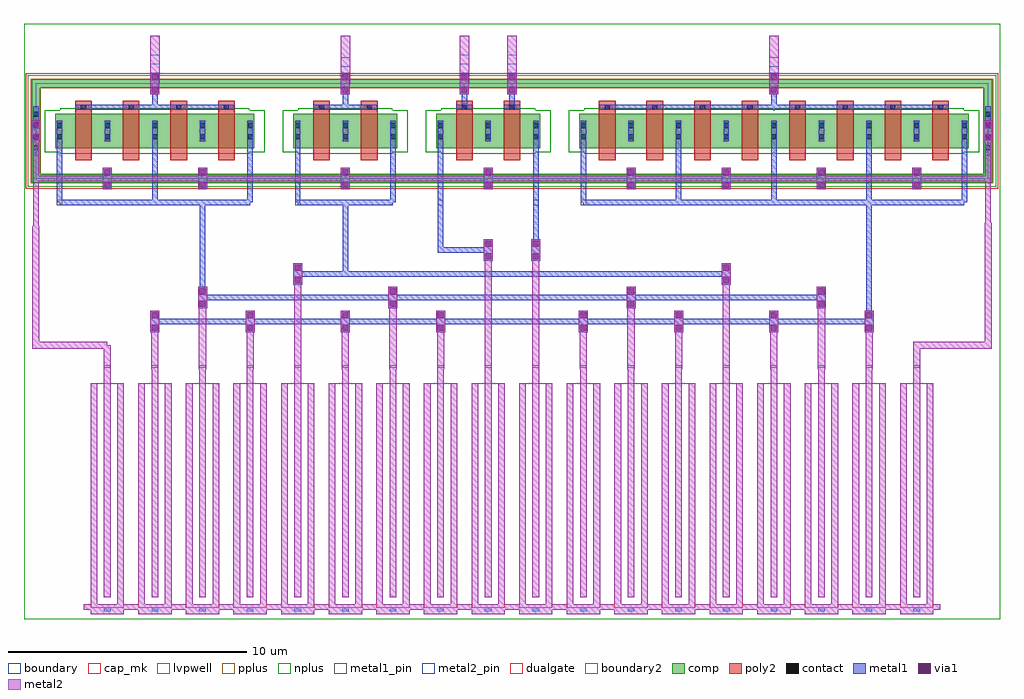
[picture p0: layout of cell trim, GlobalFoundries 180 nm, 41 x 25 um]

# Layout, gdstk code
import gdstk
lib = gdstk.Library(unit=1e-6, precision=1e-09)
def R(c, l, rs):  # rectangles x0, y0, x1, y1
    for r in rs: c.add(gdstk.rectangle(r[:2], r[2:], *l))
def A(c, l, x, y, w, h, nx, ny, dx, dy):  # array of equal rectangles
    R(c, l, [(x+i*dx, y+j*dy, x+i*dx+w, y+j*dy+h) for i in range(nx) for j in range(ny)])
boundary = (0, 0)
comp = (22, 0)
poly2 = (30, 0)
pplus = (31, 0)
nplus = (32, 0)
contact = (33, 0)
metal1 = (34, 0)
metal1_pin = (34, 10)
via1 = (35, 0)
metal2 = (36, 0)
metal2_pin = (36, 10)
dualgate = (55, 0)
boundary2 = (63, 0)
cap_mk = (117, 5)
lvpwell = (204, 0)

xm0_trims = lib.new_cell('XM0_trims')
R(xm0_trims, boundary, [(-15,-2,-11,2)])
R(xm0_trims, comp, [(-15.18,-2.18,-10.82,-1.82), (-14.18,-0.72,-11.82,0.72), (-15.18,1.82,-10.82,2.18)])
R(xm0_trims, poly2, [(-13.35,-1.279,-12.65,1.235)])
R(xm0_trims, pplus, [(-15.21,-2.2,-10.79,-1.8), (-15.21,1.8,-10.79,2.2)])
R(xm0_trims, nplus, [(-13.97,-0.95,-12,-0.88), (-14.62,-0.88,-11.38,0.88), (-13.97,0.88,-12,0.95)])
R(xm0_trims, contact, [(-13.11,-1.11,-12.89,-0.89), (-14.11,-0.345,-13.89,-0.125), (-12.11,-0.345,-11.89,-0.125), (-14.11,0.125,-13.89,0.345), (-12.11,0.125,-11.89,0.345)])
R(xm0_trims, metal1, [(-13.34,-1.115,-12.66,-0.885), (-14.115,-0.435,-13.885,0.435), (-12.115,-0.435,-11.885,0.435)])
R(xm0_trims, dualgate, [(-15.42,-2.42,-10.58,2.42)])
A(xm0_trims, boundary2, -15.5, -2.5, 1, 1, 5, 5, 1, 1)
R(xm0_trims, lvpwell, [(-15.34,-2.34,-10.66,2.34)])

xm1_trims = lib.new_cell('XM1_trims')
R(xm1_trims, boundary, [(-23,-2,-19,2)])
R(xm1_trims, comp, [(-23.18,-2.18,-18.82,-1.82), (-22.18,-0.72,-19.82,0.72), (-23.18,1.82,-18.82,2.18)])
R(xm1_trims, poly2, [(-21.35,-1.279,-20.65,1.235)])
R(xm1_trims, pplus, [(-23.21,-2.2,-18.79,-1.8), (-23.21,1.8,-18.79,2.2)])
R(xm1_trims, nplus, [(-22,-0.95,-20.03,-0.88), (-22.62,-0.88,-19.38,0.88), (-22,0.88,-20.03,0.95)])
R(xm1_trims, contact, [(-21.11,-1.11,-20.89,-0.89), (-22.11,-0.345,-21.89,-0.125), (-20.11,-0.345,-19.89,-0.125), (-22.11,0.125,-21.89,0.345), (-20.11,0.125,-19.89,0.345)])
R(xm1_trims, metal1, [(-21.34,-1.115,-20.66,-0.885), (-22.115,-0.435,-21.885,0.435), (-20.115,-0.435,-19.885,0.435)])
R(xm1_trims, dualgate, [(-23.42,-2.42,-18.58,2.42)])
A(xm1_trims, boundary2, -23.5, -2.5, 1, 1, 5, 5, 1, 1)
R(xm1_trims, lvpwell, [(-23.34,-2.34,-18.66,2.34)])

xm2_trims = lib.new_cell('XM2_trims')
R(xm2_trims, boundary, [(-16,-2,-12,2), (-14,-2,-10,2)])
R(xm2_trims, comp, [(-16.18,-2.18,-11.82,-1.82), (-14.18,-2.18,-9.82,-1.82), (-15.18,-0.72,-12.82,0.72), (-13.18,-0.72,-10.82,0.72), (-16.18,1.82,-11.82,2.18), (-14.18,1.82,-9.82,2.18)])
R(xm2_trims, poly2, [(-14.35,-1.279,-13.65,1.235), (-12.35,-1.279,-11.65,1.235)])
R(xm2_trims, pplus, [(-16.21,-2.2,-11.79,-1.8), (-14.21,-2.2,-9.79,-1.8), (-16.21,1.8,-11.79,2.2), (-14.21,1.8,-9.79,2.2)])
R(xm2_trims, nplus, [(-14.97,-0.95,-13,-0.88), (-13,-0.95,-11.03,-0.88), (-15.62,-0.88,-12.38,0.88), (-13.62,-0.88,-10.38,0.88), (-14.97,0.88,-13,0.95), (-13,0.88,-11.03,0.95)])
R(xm2_trims, contact, [(-14.11,-1.11,-13.89,-0.89), (-12.11,-1.11,-11.89,-0.89), (-15.11,-0.345,-14.89,-0.125), (-13.11,-0.345,-12.89,-0.125), (-13.11,-0.345,-12.89,-0.125), (-11.11,-0.345,-10.89,-0.125), (-15.11,0.125,-14.89,0.345), (-13.11,0.125,-12.89,0.345), (-13.11,0.125,-12.89,0.345), (-11.11,0.125,-10.89,0.345)])
R(xm2_trims, metal1, [(-14.34,-1.115,-13.66,-0.885), (-12.34,-1.115,-11.66,-0.885), (-15.115,-0.435,-14.885,0.435), (-13.115,-0.435,-12.885,0.435), (-13.115,-0.435,-12.885,0.435), (-11.115,-0.435,-10.885,0.435)])
R(xm2_trims, dualgate, [(-16.42,-2.42,-11.58,2.42), (-14.42,-2.42,-9.58,2.42)])
A(xm2_trims, boundary2, -16.5, -2.5, 1, 1, 3, 5, 1, 1)
A(xm2_trims, boundary2, -14.5, -2.5, 1, 1, 1, 5, 0, 1)
A(xm2_trims, boundary2, -13.5, -2.5, 1, 1, 1, 5, 0, 1)
A(xm2_trims, boundary2, -13.5, -2.5, 1, 1, 4, 5, 1, 1)
R(xm2_trims, lvpwell, [(-16.34,-2.34,-11.66,2.34), (-14.34,-2.34,-9.66,2.34)])

xm3_trims = lib.new_cell('XM3_trims')
A(xm3_trims, boundary, -19, -2, 4, 4, 4, 1, 2, 0)
A(xm3_trims, comp, -19.18, -2.18, 4.36, 0.36, 4, 2, 2, 4)
A(xm3_trims, comp, -18.18, -0.72, 2.36, 1.44, 4, 1, 2, 0)
R(xm3_trims, comp, [(-19.18,-1.82,-18.82,1.82)])
A(xm3_trims, poly2, -17.35, -1.279, 0.7, 2.514, 4, 1, 2, 0)
A(xm3_trims, pplus, -19.21, -2.2, 4.42, 0.4, 4, 2, 2, 4)
R(xm3_trims, pplus, [(-19.21,-1.8,-18.79,1.8)])
A(xm3_trims, nplus, -18.62, -0.88, 3.24, 1.76, 4, 1, 2, 0)
R(xm3_trims, nplus, [(-17.97,-0.95,-16,-0.88), (-16,-0.95,-14,-0.88), (-14,-0.95,-12,-0.88), (-12,-0.95,-10.03,-0.88), (-17.97,0.88,-16,0.95), (-16,0.88,-14,0.95), (-14,0.88,-12,0.95), (-12,0.88,-10.03,0.95)])
A(xm3_trims, contact, -17.11, -1.11, 0.22, 0.22, 4, 1, 2, 0)
A(xm3_trims, contact, -19.11, -0.815, 0.22, 0.22, 1, 4, 0, 0.47)
R(xm3_trims, contact, [(-18.11,-0.345,-17.89,-0.125), (-16.11,-0.345,-15.89,-0.125), (-16.11,-0.345,-15.89,-0.125), (-14.11,-0.345,-13.89,-0.125), (-14.11,-0.345,-13.89,-0.125), (-12.11,-0.345,-11.89,-0.125), (-12.11,-0.345,-11.89,-0.125), (-10.11,-0.345,-9.89,-0.125), (-18.11,0.125,-17.89,0.345), (-16.11,0.125,-15.89,0.345), (-16.11,0.125,-15.89,0.345), (-14.11,0.125,-13.89,0.345), (-14.11,0.125,-13.89,0.345), (-12.11,0.125,-11.89,0.345), (-12.11,0.125,-11.89,0.345), (-10.11,0.125,-9.89,0.345)])
A(xm3_trims, metal1, -17.34, -1.115, 0.68, 0.23, 4, 1, 2, 0)
R(xm3_trims, metal1, [(-19.115,-1.04,-18.885,1.04), (-18.115,-0.435,-17.885,0.435), (-16.115,-0.435,-15.885,0.435), (-16.115,-0.435,-15.885,0.435), (-14.115,-0.435,-13.885,0.435), (-14.115,-0.435,-13.885,0.435), (-12.115,-0.435,-11.885,0.435), (-12.115,-0.435,-11.885,0.435), (-10.115,-0.435,-9.885,0.435)])
A(xm3_trims, dualgate, -19.42, -2.42, 4.84, 4.84, 4, 1, 2, 0)
A(xm3_trims, boundary2, -19.5, -2.5, 1, 1, 3, 5, 1, 1)
A(xm3_trims, boundary2, -17.5, -2.5, 1, 1, 1, 5, 0, 1)
A(xm3_trims, boundary2, -16.5, -2.5, 1, 1, 1, 5, 0, 1)
A(xm3_trims, boundary2, -16.5, -2.5, 1, 1, 3, 5, 1, 1)
A(xm3_trims, boundary2, -14.5, -2.5, 1, 1, 1, 5, 0, 1)
A(xm3_trims, boundary2, -12.5, -2.5, 1, 1, 1, 5, 0, 1)
A(xm3_trims, boundary2, -12.5, -2.5, 1, 1, 4, 5, 1, 1)
R(xm3_trims, boundary2, [(-13.5,-2.5,-12.5,-1.5), (-13.5,-2.5,-12.5,-1.5), (-13.5,-1.5,-12.5,-0.5), (-13.5,-1.5,-12.5,-0.5), (-13.5,-0.5,-12.5,0.5), (-13.5,-0.5,-12.5,0.5), (-13.5,0.5,-12.5,1.5), (-13.5,0.5,-12.5,1.5), (-13.5,1.5,-12.5,2.5), (-13.5,1.5,-12.5,2.5)])
A(xm3_trims, lvpwell, -19.34, -2.34, 4.68, 4.68, 4, 1, 2, 0)

xm4_trims = lib.new_cell('XM4_trims')
A(xm4_trims, boundary, -22, -2, 4, 4, 8, 1, 2, 0)
A(xm4_trims, comp, -22.18, -2.18, 4.36, 0.36, 8, 2, 2, 4)
A(xm4_trims, comp, -21.18, -0.72, 2.36, 1.44, 8, 1, 2, 0)
R(xm4_trims, comp, [(-4.18,-1.82,-3.82,1.82)])
A(xm4_trims, poly2, -20.35, -1.279, 0.7, 2.514, 8, 1, 2, 0)
A(xm4_trims, pplus, -22.21, -2.2, 4.42, 0.4, 8, 2, 2, 4)
R(xm4_trims, pplus, [(-4.21,-1.8,-3.79,1.8)])
A(xm4_trims, nplus, -21.62, -0.88, 3.24, 1.76, 8, 1, 2, 0)
R(xm4_trims, nplus, [(-20.97,-0.95,-19,-0.88), (-19,-0.95,-17,-0.88), (-17,-0.95,-15,-0.88), (-15,-0.95,-13.03,-0.88), (-12.97,-0.95,-11,-0.88), (-11,-0.95,-9,-0.88), (-9,-0.95,-7,-0.88), (-7,-0.95,-5.03,-0.88), (-20.97,0.88,-19,0.95), (-19,0.88,-17,0.95), (-17,0.88,-15,0.95), (-15,0.88,-13.03,0.95), (-12.97,0.88,-11,0.95), (-11,0.88,-9,0.95), (-9,0.88,-7,0.95), (-7,0.88,-5.03,0.95)])
A(xm4_trims, contact, -20.11, -1.11, 0.22, 0.22, 8, 1, 2, 0)
A(xm4_trims, contact, -4.11, -0.815, 0.22, 0.22, 1, 4, 0, 0.47)
R(xm4_trims, contact, [(-21.11,-0.345,-20.89,-0.125), (-19.11,-0.345,-18.89,-0.125), (-19.11,-0.345,-18.89,-0.125), (-17.11,-0.345,-16.89,-0.125), (-17.11,-0.345,-16.89,-0.125), (-15.11,-0.345,-14.89,-0.125), (-15.11,-0.345,-14.89,-0.125), (-13.11,-0.345,-12.89,-0.125), (-13.11,-0.345,-12.89,-0.125), (-11.11,-0.345,-10.89,-0.125), (-11.11,-0.345,-10.89,-0.125), (-9.11,-0.345,-8.89,-0.125), (-9.11,-0.345,-8.89,-0.125), (-7.11,-0.345,-6.89,-0.125), (-7.11,-0.345,-6.89,-0.125), (-5.11,-0.345,-4.89,-0.125), (-21.11,0.125,-20.89,0.345), (-19.11,0.125,-18.89,0.345), (-19.11,0.125,-18.89,0.345), (-17.11,0.125,-16.89,0.345), (-17.11,0.125,-16.89,0.345), (-15.11,0.125,-14.89,0.345), (-15.11,0.125,-14.89,0.345), (-13.11,0.125,-12.89,0.345), (-13.11,0.125,-12.89,0.345), (-11.11,0.125,-10.89,0.345), (-11.11,0.125,-10.89,0.345), (-9.11,0.125,-8.89,0.345), (-9.11,0.125,-8.89,0.345), (-7.11,0.125,-6.89,0.345), (-7.11,0.125,-6.89,0.345), (-5.11,0.125,-4.89,0.345)])
A(xm4_trims, metal1, -20.34, -1.115, 0.68, 0.23, 8, 1, 2, 0)
R(xm4_trims, metal1, [(-4.115,-1.04,-3.885,1.04), (-21.115,-0.435,-20.885,0.435), (-19.115,-0.435,-18.885,0.435), (-19.115,-0.435,-18.885,0.435), (-17.115,-0.435,-16.885,0.435), (-17.115,-0.435,-16.885,0.435), (-15.115,-0.435,-14.885,0.435), (-15.115,-0.435,-14.885,0.435), (-13.115,-0.435,-12.885,0.435), (-13.115,-0.435,-12.885,0.435), (-11.115,-0.435,-10.885,0.435), (-11.115,-0.435,-10.885,0.435), (-9.115,-0.435,-8.885,0.435), (-9.115,-0.435,-8.885,0.435), (-7.115,-0.435,-6.885,0.435), (-7.115,-0.435,-6.885,0.435), (-5.115,-0.435,-4.885,0.435)])
A(xm4_trims, dualgate, -22.42, -2.42, 4.84, 4.84, 8, 1, 2, 0)
A(xm4_trims, boundary2, -22.5, -2.5, 1, 1, 3, 5, 1, 1)
A(xm4_trims, boundary2, -20.5, -2.5, 1, 1, 1, 5, 0, 1)
A(xm4_trims, boundary2, -19.5, -2.5, 1, 1, 1, 5, 0, 1)
A(xm4_trims, boundary2, -19.5, -2.5, 1, 1, 3, 5, 1, 1)
A(xm4_trims, boundary2, -17.5, -2.5, 1, 1, 1, 5, 0, 1)
A(xm4_trims, boundary2, -11.5, -2.5, 1, 1, 1, 5, 0, 1)
A(xm4_trims, boundary2, -11.5, -2.5, 1, 1, 3, 5, 1, 1)
A(xm4_trims, boundary2, -9.5, -2.5, 1, 1, 1, 5, 0, 1)
A(xm4_trims, boundary2, -7.5, -2.5, 1, 1, 1, 5, 0, 1)
A(xm4_trims, boundary2, -7.5, -2.5, 1, 1, 4, 5, 1, 1)
R(xm4_trims, boundary2, [(-16.5,-2.5,-15.5,-1.5), (-16.5,-2.5,-15.5,-1.5), (-15.5,-2.5,-14.5,-1.5), (-15.5,-2.5,-14.5,-1.5), (-14.5,-2.5,-13.5,-1.5), (-14.5,-2.5,-13.5,-1.5), (-13.5,-2.5,-12.5,-1.5), (-13.5,-2.5,-12.5,-1.5), (-12.5,-2.5,-11.5,-1.5), (-12.5,-2.5,-11.5,-1.5), (-12.5,-2.5,-11.5,-1.5), (-8.5,-2.5,-7.5,-1.5), (-8.5,-2.5,-7.5,-1.5), (-16.5,-1.5,-15.5,-0.5), (-16.5,-1.5,-15.5,-0.5), (-15.5,-1.5,-14.5,-0.5), (-15.5,-1.5,-14.5,-0.5), (-14.5,-1.5,-13.5,-0.5), (-14.5,-1.5,-13.5,-0.5), (-13.5,-1.5,-12.5,-0.5), (-13.5,-1.5,-12.5,-0.5), (-12.5,-1.5,-11.5,-0.5), (-12.5,-1.5,-11.5,-0.5), (-12.5,-1.5,-11.5,-0.5), (-8.5,-1.5,-7.5,-0.5), (-8.5,-1.5,-7.5,-0.5), (-16.5,-0.5,-15.5,0.5), (-16.5,-0.5,-15.5,0.5), (-15.5,-0.5,-14.5,0.5), (-15.5,-0.5,-14.5,0.5), (-14.5,-0.5,-13.5,0.5), (-14.5,-0.5,-13.5,0.5), (-13.5,-0.5,-12.5,0.5), (-13.5,-0.5,-12.5,0.5), (-12.5,-0.5,-11.5,0.5), (-12.5,-0.5,-11.5,0.5), (-12.5,-0.5,-11.5,0.5), (-8.5,-0.5,-7.5,0.5), (-8.5,-0.5,-7.5,0.5), (-16.5,0.5,-15.5,1.5), (-16.5,0.5,-15.5,1.5), (-15.5,0.5,-14.5,1.5), (-15.5,0.5,-14.5,1.5), (-14.5,0.5,-13.5,1.5), (-14.5,0.5,-13.5,1.5), (-13.5,0.5,-12.5,1.5), (-13.5,0.5,-12.5,1.5), (-12.5,0.5,-11.5,1.5), (-12.5,0.5,-11.5,1.5), (-12.5,0.5,-11.5,1.5), (-8.5,0.5,-7.5,1.5), (-8.5,0.5,-7.5,1.5), (-16.5,1.5,-15.5,2.5), (-16.5,1.5,-15.5,2.5), (-15.5,1.5,-14.5,2.5), (-15.5,1.5,-14.5,2.5), (-14.5,1.5,-13.5,2.5), (-14.5,1.5,-13.5,2.5), (-13.5,1.5,-12.5,2.5), (-13.5,1.5,-12.5,2.5), (-12.5,1.5,-11.5,2.5), (-12.5,1.5,-11.5,2.5), (-12.5,1.5,-11.5,2.5), (-8.5,1.5,-7.5,2.5), (-8.5,1.5,-7.5,2.5)])
A(xm4_trims, lvpwell, -22.34, -2.34, 4.68, 4.68, 8, 1, 2, 0)

trim_switch = lib.new_cell('trim_switch')
A(trim_switch, metal1, -13.19, -2.45, 0.38, 0.9, 4, 1, 6, 0)
A(trim_switch, metal1, 8.81, -2.45, 0.38, 0.9, 3, 1, 4, 0)
R(trim_switch, metal1, [(-17.19,-2.45,-16.81,-1.55), (-20.19,-0.45,-19.81,0.45), (19.81,-0.45,20.19,0.45), (-15.19,1.55,-14.81,2.45), (-7.19,1.55,-6.81,2.45), (-2.19,1.55,-1.81,2.45), (-0.19,1.55,0.19,2.45), (10.81,1.55,11.19,2.45)])
R(trim_switch, metal1_pin, [(-19.115,-3.115,-18.885,-2.885), (-9.115,-3.115,-8.885,-2.885), (-3.115,-3.115,-2.885,-2.885), (0.885,-3.115,1.115,-2.885), (2.885,-3.115,3.115,-2.885)])
A(trim_switch, via1, -13.13, -2.39, 0.26, 0.26, 4, 2, 6, 0.52)
A(trim_switch, via1, 8.87, -2.39, 0.26, 0.26, 3, 2, 4, 0.52)
R(trim_switch, via1, [(-17.13,-2.39,-16.87,-2.13), (-17.13,-1.87,-16.87,-1.61), (-20.13,-0.39,-19.87,-0.13), (19.87,-0.39,20.13,-0.13), (-20.13,0.13,-19.87,0.39), (19.87,0.13,20.13,0.39), (-15.13,1.61,-14.87,1.87), (-7.13,1.61,-6.87,1.87), (-2.13,1.61,-1.87,1.87), (-0.13,1.61,0.13,1.87), (10.87,1.61,11.13,1.87), (-15.13,2.13,-14.87,2.39), (-7.13,2.13,-6.87,2.39), (-2.13,2.13,-1.87,2.39), (-0.13,2.13,0.13,2.39), (10.87,2.13,11.13,2.39)])
A(trim_switch, metal2, -13.19, -2.45, 0.38, 0.9, 4, 1, 6, 0)
A(trim_switch, metal2, 8.81, -2.45, 0.38, 0.9, 3, 1, 4, 0)
R(trim_switch, metal2, [(-17.19,-2.45,-16.81,-1.55), (-20.19,-0.45,-19.81,0.45), (19.81,-0.45,20.19,0.45), (-15.19,1.55,-14.81,2.45), (-7.19,1.55,-6.81,2.45), (-2.19,1.55,-1.81,2.45), (-0.19,1.55,0.19,2.45), (10.81,1.55,11.19,2.45)])
R(trim_switch, metal2_pin, [(-7.2,2.7,-6.8,3.1), (10.8,2.7,11.2,3.1), (-15.2,2.8,-14.8,3.2), (-2.2,2.8,-1.8,3.2), (-0.2,2.8,0.2,3.2)])
A(trim_switch, boundary2, -20.5, -4.5, 1, 1, 3, 2, 1, 1)
A(trim_switch, boundary2, -17.5, -4.5, 1, 1, 3, 2, 1, 1)
A(trim_switch, boundary2, -13.5, -4.5, 1, 1, 4, 2, 1, 1)
A(trim_switch, boundary2, -10.5, -4.5, 1, 1, 3, 2, 1, 1)
A(trim_switch, boundary2, -7.5, -4.5, 1, 1, 4, 2, 1, 1)
A(trim_switch, boundary2, -4.5, -4.5, 1, 1, 3, 2, 1, 1)
A(trim_switch, boundary2, -0.5, -4.5, 1, 1, 3, 2, 1, 1)
A(trim_switch, boundary2, 1.5, -4.5, 1, 1, 3, 2, 1, 1)
A(trim_switch, boundary2, 4.5, -4.5, 1, 1, 3, 2, 1, 1)
A(trim_switch, boundary2, 12.5, -4.5, 1, 1, 3, 2, 1, 1)
A(trim_switch, boundary2, 16.5, -4.5, 1, 1, 4, 2, 1, 1)
A(trim_switch, boundary2, -20.5, 2.5, 1, 1, 3, 2, 1, 1)
A(trim_switch, boundary2, -17.5, 2.5, 1, 1, 3, 2, 1, 1)
A(trim_switch, boundary2, -13.5, 2.5, 1, 1, 4, 2, 1, 1)
A(trim_switch, boundary2, -10.5, 2.5, 1, 1, 3, 2, 1, 1)
A(trim_switch, boundary2, -7.5, 2.5, 1, 1, 4, 2, 1, 1)
A(trim_switch, boundary2, -4.5, 2.5, 1, 1, 3, 2, 1, 1)
A(trim_switch, boundary2, -0.5, 2.5, 1, 1, 3, 2, 1, 1)
A(trim_switch, boundary2, 1.5, 2.5, 1, 1, 3, 2, 1, 1)
A(trim_switch, boundary2, 4.5, 2.5, 1, 1, 3, 2, 1, 1)
A(trim_switch, boundary2, 12.5, 2.5, 1, 1, 3, 2, 1, 1)
A(trim_switch, boundary2, 16.5, 2.5, 1, 1, 4, 2, 1, 1)
R(trim_switch, boundary2, [(-18.5,-4.5,-17.5,-3.5), (-17.5,-4.5,-16.5,-3.5), (-15.5,-4.5,-14.5,-3.5), (-14.5,-4.5,-13.5,-3.5), (-14.5,-4.5,-13.5,-3.5), (-13.5,-4.5,-12.5,-3.5), (-8.5,-4.5,-7.5,-3.5), (-7.5,-4.5,-6.5,-3.5), (-2.5,-4.5,-1.5,-3.5), (-1.5,-4.5,-0.5,-3.5), (-1.5,-4.5,-0.5,-3.5), (-0.5,-4.5,0.5,-3.5), (3.5,-4.5,4.5,-3.5), (4.5,-4.5,5.5,-3.5), (6.5,-4.5,7.5,-3.5), (7.5,-4.5,8.5,-3.5), (7.5,-4.5,8.5,-3.5), (8.5,-4.5,9.5,-3.5), (8.5,-4.5,9.5,-3.5), (9.5,-4.5,10.5,-3.5), (9.5,-4.5,10.5,-3.5), (10.5,-4.5,11.5,-3.5), (10.5,-4.5,11.5,-3.5), (11.5,-4.5,12.5,-3.5), (11.5,-4.5,12.5,-3.5), (11.5,-4.5,12.5,-3.5), (12.5,-4.5,13.5,-3.5), (14.5,-4.5,15.5,-3.5), (15.5,-4.5,16.5,-3.5), (15.5,-4.5,16.5,-3.5), (16.5,-4.5,17.5,-3.5), (-18.5,-3.5,-17.5,-2.5), (-17.5,-3.5,-16.5,-2.5), (-15.5,-3.5,-14.5,-2.5), (-14.5,-3.5,-13.5,-2.5), (-14.5,-3.5,-13.5,-2.5), (-13.5,-3.5,-12.5,-2.5), (-8.5,-3.5,-7.5,-2.5), (-7.5,-3.5,-6.5,-2.5), (-2.5,-3.5,-1.5,-2.5), (-1.5,-3.5,-0.5,-2.5), (-1.5,-3.5,-0.5,-2.5), (-0.5,-3.5,0.5,-2.5), (3.5,-3.5,4.5,-2.5), (4.5,-3.5,5.5,-2.5), (6.5,-3.5,7.5,-2.5), (7.5,-3.5,8.5,-2.5), (7.5,-3.5,8.5,-2.5), (8.5,-3.5,9.5,-2.5), (8.5,-3.5,9.5,-2.5), (9.5,-3.5,10.5,-2.5), (9.5,-3.5,10.5,-2.5), (10.5,-3.5,11.5,-2.5), (10.5,-3.5,11.5,-2.5), (11.5,-3.5,12.5,-2.5), (11.5,-3.5,12.5,-2.5), (11.5,-3.5,12.5,-2.5), (12.5,-3.5,13.5,-2.5), (14.5,-3.5,15.5,-2.5), (15.5,-3.5,16.5,-2.5), (15.5,-3.5,16.5,-2.5), (16.5,-3.5,17.5,-2.5), (-18.5,2.5,-17.5,3.5), (-17.5,2.5,-16.5,3.5), (-15.5,2.5,-14.5,3.5), (-14.5,2.5,-13.5,3.5), (-14.5,2.5,-13.5,3.5), (-13.5,2.5,-12.5,3.5), (-8.5,2.5,-7.5,3.5), (-7.5,2.5,-6.5,3.5), (-2.5,2.5,-1.5,3.5), (-1.5,2.5,-0.5,3.5), (-1.5,2.5,-0.5,3.5), (-0.5,2.5,0.5,3.5), (3.5,2.5,4.5,3.5), (4.5,2.5,5.5,3.5), (6.5,2.5,7.5,3.5), (7.5,2.5,8.5,3.5), (7.5,2.5,8.5,3.5), (8.5,2.5,9.5,3.5), (8.5,2.5,9.5,3.5), (9.5,2.5,10.5,3.5), (9.5,2.5,10.5,3.5), (10.5,2.5,11.5,3.5), (10.5,2.5,11.5,3.5), (11.5,2.5,12.5,3.5), (11.5,2.5,12.5,3.5), (11.5,2.5,12.5,3.5), (12.5,2.5,13.5,3.5), (14.5,2.5,15.5,3.5), (15.5,2.5,16.5,3.5), (15.5,2.5,16.5,3.5), (16.5,2.5,17.5,3.5), (-18.5,3.5,-17.5,4.5), (-17.5,3.5,-16.5,4.5), (-15.5,3.5,-14.5,4.5), (-14.5,3.5,-13.5,4.5), (-14.5,3.5,-13.5,4.5), (-13.5,3.5,-12.5,4.5), (-8.5,3.5,-7.5,4.5), (-7.5,3.5,-6.5,4.5), (-2.5,3.5,-1.5,4.5), (-1.5,3.5,-0.5,4.5), (-1.5,3.5,-0.5,4.5), (-0.5,3.5,0.5,4.5), (3.5,3.5,4.5,4.5), (4.5,3.5,5.5,4.5), (6.5,3.5,7.5,4.5), (7.5,3.5,8.5,4.5), (7.5,3.5,8.5,4.5), (8.5,3.5,9.5,4.5), (8.5,3.5,9.5,4.5), (9.5,3.5,10.5,4.5), (9.5,3.5,10.5,4.5), (10.5,3.5,11.5,4.5), (10.5,3.5,11.5,4.5), (11.5,3.5,12.5,4.5), (11.5,3.5,12.5,4.5), (11.5,3.5,12.5,4.5), (12.5,3.5,13.5,4.5), (14.5,3.5,15.5,4.5), (15.5,3.5,16.5,4.5), (15.5,3.5,16.5,4.5), (16.5,3.5,17.5,4.5)])
trim_switch.add(gdstk.FlexPath([(-18,1),(-12,1)], 0.23, ends="flush", simple_path=True, layer=34, datatype=0))  # metal1
trim_switch.add(gdstk.FlexPath([(-8,1),(-6,1)], 0.23, ends="flush", simple_path=True, layer=34, datatype=0))  # metal1
trim_switch.add(gdstk.FlexPath([(4,1),(18,1)], 0.23, ends="flush", simple_path=True, layer=34, datatype=0))  # metal1
trim_switch.add(gdstk.FlexPath([(-15,2),(-15,1)], 0.23, ends="flush", simple_path=True, layer=34, datatype=0))  # metal1
trim_switch.add(gdstk.FlexPath([(-7,2),(-7,1)], 0.23, ends="flush", simple_path=True, layer=34, datatype=0))  # metal1
trim_switch.add(gdstk.FlexPath([(-2,2),(-2,1)], 0.23, ends="flush", simple_path=True, layer=34, datatype=0))  # metal1
trim_switch.add(gdstk.FlexPath([(0,2),(0,1)], 0.23, ends="flush", simple_path=True, layer=34, datatype=0))  # metal1
trim_switch.add(gdstk.FlexPath([(11,2),(11,1)], 0.23, ends="flush", simple_path=True, layer=34, datatype=0))  # metal1
trim_switch.add(gdstk.FlexPath([(-19,0),(-19,-3)], 0.23, ends="flush", simple_path=True, layer=34, datatype=0))  # metal1
trim_switch.add(gdstk.FlexPath([(-15,0),(-15,-3)], 0.23, ends="flush", simple_path=True, layer=34, datatype=0))  # metal1
trim_switch.add(gdstk.FlexPath([(-11,0),(-11,-3)], 0.23, ends="flush", simple_path=True, layer=34, datatype=0))  # metal1
trim_switch.add(gdstk.FlexPath([(-9,0),(-9,-3)], 0.23, ends="flush", simple_path=True, layer=34, datatype=0))  # metal1
trim_switch.add(gdstk.FlexPath([(-5,0),(-5,-3)], 0.23, ends="flush", simple_path=True, layer=34, datatype=0))  # metal1
trim_switch.add(gdstk.FlexPath([(-3,0),(-3,-3)], 0.23, ends="flush", simple_path=True, layer=34, datatype=0))  # metal1
trim_switch.add(gdstk.FlexPath([(1,0),(1,-3)], 0.23, ends="flush", simple_path=True, layer=34, datatype=0))  # metal1
trim_switch.add(gdstk.FlexPath([(3,0),(3,-3)], 0.23, ends="flush", simple_path=True, layer=34, datatype=0))  # metal1
trim_switch.add(gdstk.FlexPath([(7,0),(7,-3)], 0.23, ends="flush", simple_path=True, layer=34, datatype=0))  # metal1
trim_switch.add(gdstk.FlexPath([(11,0),(11,-3)], 0.23, ends="flush", simple_path=True, layer=34, datatype=0))  # metal1
trim_switch.add(gdstk.FlexPath([(19,0),(19,-3)], 0.23, ends="flush", simple_path=True, layer=34, datatype=0))  # metal1
trim_switch.add(gdstk.FlexPath([(15,0),(15,-3)], 0.23, ends="flush", simple_path=True, layer=34, datatype=0))  # metal1
trim_switch.add(gdstk.FlexPath([(-19,-3),(-11,-3),(-11,-3)], 0.23, ends="flush", simple_path=True, layer=34, datatype=0))  # metal1
trim_switch.add(gdstk.FlexPath([(-9,-3),(-5,-3),(-5,-3)], 0.23, ends="flush", simple_path=True, layer=34, datatype=0))  # metal1
trim_switch.add(gdstk.FlexPath([(3,-3),(19,-3)], 0.23, ends="flush", simple_path=True, layer=34, datatype=0))  # metal1
trim_switch.add(gdstk.FlexPath([(-15,2),(-15,3)], 0.4, ends="flush", simple_path=True, layer=36, datatype=0))  # metal2
trim_switch.add(gdstk.FlexPath([(-15,2),(-15,4)], 0.4, ends="flush", simple_path=True, layer=36, datatype=0))  # metal2
trim_switch.add(gdstk.FlexPath([(-7,2),(-7,4)], 0.4, ends="flush", simple_path=True, layer=36, datatype=0))  # metal2
trim_switch.add(gdstk.FlexPath([(-2,2),(-2,4)], 0.4, ends="flush", simple_path=True, layer=36, datatype=0))  # metal2
trim_switch.add(gdstk.FlexPath([(0,2),(0,4)], 0.4, ends="flush", simple_path=True, layer=36, datatype=0))  # metal2
trim_switch.add(gdstk.FlexPath([(11,2),(11,4)], 0.4, ends="flush", simple_path=True, layer=36, datatype=0))  # metal2
trim_switch.add(gdstk.FlexPath([(-20,0),(-20,-4)], 0.23, ends="flush", simple_path=True, layer=36, datatype=0))  # metal2
trim_switch.add(gdstk.FlexPath([(20,0),(20,-4)], 0.23, ends="flush", simple_path=True, layer=36, datatype=0))  # metal2
trim_switch.add(gdstk.FlexPath([(20,-2),(-20,-2)], 0.23, ends="flush", simple_path=True, layer=36, datatype=0))  # metal2
trim_switch.add(gdstk.Reference(xm0_trims, (11,0), x_reflection=True))
trim_switch.add(gdstk.Reference(xm1_trims, (21,0), x_reflection=True))
trim_switch.add(gdstk.Reference(xm2_trims, (6,0), x_reflection=True))
trim_switch.add(gdstk.Reference(xm3_trims, (-1,0), x_reflection=True))
trim_switch.add(gdstk.Reference(xm4_trims, (24,0), x_reflection=True))
trim_switch.add(gdstk.Label('d_3', (-15.005,3.005), layer=36, texttype=10))
trim_switch.add(gdstk.Label('d_2', (-7.005,2.905), layer=36, texttype=10))
trim_switch.add(gdstk.Label('d_0', (-2.005,3.005), layer=36, texttype=10))
trim_switch.add(gdstk.Label('d_1', (-0.005,3.005), layer=36, texttype=10))
trim_switch.add(gdstk.Label('d_4', (10.995,2.905), layer=36, texttype=10))
trim_switch.add(gdstk.Label('n3', (-19,-2.995), layer=34, texttype=10))
trim_switch.add(gdstk.Label('n2', (-9,-2.995), layer=34, texttype=10))
trim_switch.add(gdstk.Label('n0', (-3,-3), layer=34, texttype=10))
trim_switch.add(gdstk.Label('n1', (1,-3), layer=34, texttype=10))
trim_switch.add(gdstk.Label('n4', (3,-3), layer=34, texttype=10))

cap_unit = lib.new_cell('cap_unit')
R(cap_unit, metal2, [(1.98,-0.862,3.38,-0.582), (1.98,-0.582,2.26,8.858), (1.98,-0.582,2.26,8.858), (3.1,-0.582,3.38,8.858), (3.1,-0.582,3.38,8.858), (2.54,-0.142,2.82,9.75)])
R(cap_unit, metal2_pin, [(2.54,-0.721,2.82,-0.621), (2.54,9.508,2.82,9.608)])
R(cap_unit, cap_mk, [(1.98,-0.582,3.38,8.858)])
cap_unit.add(gdstk.Label('out', (2.68,-0.671), layer=36, texttype=10))
cap_unit.add(gdstk.Label('in', (2.68,9.699), layer=36, texttype=10))

trim_carray = lib.new_cell('trim_carray')
trim_carray.add(gdstk.Reference(cap_unit, (-2.68,-4.278)))
trim_carray.add(gdstk.Reference(cap_unit, (-0.68,-4.278)))
trim_carray.add(gdstk.Reference(cap_unit, (1.32,-4.278)))
trim_carray.add(gdstk.Reference(cap_unit, (3.32,-4.278)))
trim_carray.add(gdstk.Reference(cap_unit, (5.32,-4.278)))
trim_carray.add(gdstk.Reference(cap_unit, (7.32,-4.278)))
trim_carray.add(gdstk.Reference(cap_unit, (9.32,-4.278)))
trim_carray.add(gdstk.Reference(cap_unit, (11.32,-4.278)))
trim_carray.add(gdstk.Reference(cap_unit, (13.32,-4.278)))
trim_carray.add(gdstk.Reference(cap_unit, (15.32,-4.278)))
trim_carray.add(gdstk.Reference(cap_unit, (17.32,-4.278)))
trim_carray.add(gdstk.Reference(cap_unit, (19.32,-4.278)))
trim_carray.add(gdstk.Reference(cap_unit, (21.32,-4.278)))
trim_carray.add(gdstk.Reference(cap_unit, (23.32,-4.278)))
trim_carray.add(gdstk.Reference(cap_unit, (25.32,-4.278)))
trim_carray.add(gdstk.Reference(cap_unit, (27.32,-4.278)))
trim_carray.add(gdstk.Reference(cap_unit, (29.32,-4.278)))
trim_carray.add(gdstk.Reference(cap_unit, (31.32,-4.278)))

trim = lib.new_cell('trim')
A(trim, metal1, -15.19, -8.45, 0.38, 0.9, 4, 1, 4, 0)
A(trim, metal1, 2.81, -8.45, 0.38, 0.9, 4, 1, 4, 0)
R(trim, metal1, [(-13.19,-7.45,-12.81,-6.55), (-5.19,-7.45,-4.81,-6.55), (4.81,-7.45,5.19,-6.55), (12.81,-7.45,13.19,-6.55), (-9.19,-6.45,-8.81,-5.55), (8.81,-6.45,9.19,-5.55), (-1.19,-5.45,-0.81,-4.55), (0.81,-5.45,1.19,-4.55)])
A(trim, via1, -15.13, -8.39, 0.26, 0.26, 4, 2, 4, 0.52)
A(trim, via1, 2.87, -8.39, 0.26, 0.26, 4, 2, 4, 0.52)
R(trim, via1, [(-13.13,-7.39,-12.87,-7.13), (-5.13,-7.39,-4.87,-7.13), (4.87,-7.39,5.13,-7.13), (12.87,-7.39,13.13,-7.13), (-13.13,-6.87,-12.87,-6.61), (-5.13,-6.87,-4.87,-6.61), (4.87,-6.87,5.13,-6.61), (12.87,-6.87,13.13,-6.61), (-9.13,-6.39,-8.87,-6.13), (8.87,-6.39,9.13,-6.13), (-9.13,-5.87,-8.87,-5.61), (8.87,-5.87,9.13,-5.61), (-1.13,-5.39,-0.87,-5.13), (0.87,-5.39,1.13,-5.13), (-1.13,-4.87,-0.87,-4.61), (0.87,-4.87,1.13,-4.61)])
A(trim, metal2, -15.19, -8.45, 0.38, 0.9, 4, 1, 4, 0)
A(trim, metal2, 2.81, -8.45, 0.38, 0.9, 4, 1, 4, 0)
R(trim, metal2, [(-13.19,-7.45,-12.81,-6.55), (-5.19,-7.45,-4.81,-6.55), (4.81,-7.45,5.19,-6.55), (12.81,-7.45,13.19,-6.55), (-9.19,-6.45,-8.81,-5.55), (8.81,-6.45,9.19,-5.55), (-1.19,-5.45,-0.81,-4.55), (0.81,-5.45,1.19,-4.55)])
A(trim, boundary2, -20.5, -20.5, 1, 1, 41, 16, 1, 1)
A(trim, boundary2, -20.5, -4.5, 1, 1, 40, 9, 1, 1)
trim.add(gdstk.FlexPath([(-15,-8),(15,-8),(15,-3)], 0.23, ends="flush", simple_path=True, layer=34, datatype=0))  # metal1
trim.add(gdstk.FlexPath([(13,-7),(-13,-7),(-13,-3),(-13,-3)], 0.23, ends="flush", simple_path=True, layer=34, datatype=0))  # metal1
trim.add(gdstk.FlexPath([(9,-6),(-9,-6)], 0.23, ends="flush", simple_path=True, layer=34, datatype=0))  # metal1
trim.add(gdstk.FlexPath([(-7,-3),(-7,-6)], 0.23, ends="flush", simple_path=True, layer=34, datatype=0))  # metal1
trim.add(gdstk.FlexPath([(-3,-3),(-3,-5),(-1,-5)], 0.23, ends="flush", simple_path=True, layer=34, datatype=0))  # metal1
trim.add(gdstk.FlexPath([(1,-5),(1,-3),(1,-3),(1,-3)], 0.23, ends="flush", simple_path=True, layer=34, datatype=0))  # metal1
trim.add(gdstk.FlexPath([(-20,-4),(-20,-9),(-17,-9)], 0.3, ends="flush", simple_path=True, layer=36, datatype=0))  # metal2
trim.add(gdstk.FlexPath([(20,-4),(20,-9),(17,-9)], 0.3, ends="extended", simple_path=True, layer=36, datatype=0))  # metal2
trim.add(gdstk.FlexPath([(17,-9),(17,-10)], 0.3, ends="flush", simple_path=True, layer=36, datatype=0))  # metal2
trim.add(gdstk.FlexPath([(15,-9),(15,-10)], 0.3, ends="flush", simple_path=True, layer=36, datatype=0))  # metal2
trim.add(gdstk.FlexPath([(13,-9),(13,-10)], 0.3, ends="flush", simple_path=True, layer=36, datatype=0))  # metal2
trim.add(gdstk.FlexPath([(11,-9),(11,-10)], 0.3, ends="flush", simple_path=True, layer=36, datatype=0))  # metal2
trim.add(gdstk.FlexPath([(9,-9),(9,-10)], 0.3, ends="flush", simple_path=True, layer=36, datatype=0))  # metal2
trim.add(gdstk.FlexPath([(7,-9),(7,-10)], 0.3, ends="flush", simple_path=True, layer=36, datatype=0))  # metal2
trim.add(gdstk.FlexPath([(5,-9),(5,-10)], 0.3, ends="flush", simple_path=True, layer=36, datatype=0))  # metal2
trim.add(gdstk.FlexPath([(3,-9),(3,-10)], 0.3, ends="flush", simple_path=True, layer=36, datatype=0))  # metal2
trim.add(gdstk.FlexPath([(1,-9),(1,-10)], 0.3, ends="flush", simple_path=True, layer=36, datatype=0))  # metal2
trim.add(gdstk.FlexPath([(-1,-9),(-1,-10)], 0.3, ends="flush", simple_path=True, layer=36, datatype=0))  # metal2
trim.add(gdstk.FlexPath([(-3,-9),(-3,-10)], 0.3, ends="flush", simple_path=True, layer=36, datatype=0))  # metal2
trim.add(gdstk.FlexPath([(-5,-9),(-5,-10)], 0.3, ends="flush", simple_path=True, layer=36, datatype=0))  # metal2
trim.add(gdstk.FlexPath([(-7,-9),(-7,-10)], 0.3, ends="flush", simple_path=True, layer=36, datatype=0))  # metal2
trim.add(gdstk.FlexPath([(-9,-9),(-9,-10)], 0.3, ends="flush", simple_path=True, layer=36, datatype=0))  # metal2
trim.add(gdstk.FlexPath([(-11,-9),(-11,-10)], 0.3, ends="flush", simple_path=True, layer=36, datatype=0))  # metal2
trim.add(gdstk.FlexPath([(-13,-9),(-13,-10)], 0.3, ends="flush", simple_path=True, layer=36, datatype=0))  # metal2
trim.add(gdstk.FlexPath([(-15,-9),(-15,-10)], 0.3, ends="flush", simple_path=True, layer=36, datatype=0))  # metal2
trim.add(gdstk.FlexPath([(17,-9),(17,-10)], 0.23, ends="flush", simple_path=True, layer=36, datatype=0))  # metal2
trim.add(gdstk.FlexPath([(15,-9),(15,-10)], 0.23, ends="flush", simple_path=True, layer=36, datatype=0))  # metal2
trim.add(gdstk.FlexPath([(13,-9),(13,-10)], 0.23, ends="flush", simple_path=True, layer=36, datatype=0))  # metal2
trim.add(gdstk.FlexPath([(11,-9),(11,-10)], 0.23, ends="flush", simple_path=True, layer=36, datatype=0))  # metal2
trim.add(gdstk.FlexPath([(9,-9),(9,-10)], 0.23, ends="flush", simple_path=True, layer=36, datatype=0))  # metal2
trim.add(gdstk.FlexPath([(7,-9),(7,-10)], 0.23, ends="flush", simple_path=True, layer=36, datatype=0))  # metal2
trim.add(gdstk.FlexPath([(5,-9),(5,-10)], 0.23, ends="flush", simple_path=True, layer=36, datatype=0))  # metal2
trim.add(gdstk.FlexPath([(3,-9),(3,-10)], 0.23, ends="flush", simple_path=True, layer=36, datatype=0))  # metal2
trim.add(gdstk.FlexPath([(1,-9),(1,-10)], 0.23, ends="flush", simple_path=True, layer=36, datatype=0))  # metal2
trim.add(gdstk.FlexPath([(-1,-9),(-1,-10)], 0.23, ends="flush", simple_path=True, layer=36, datatype=0))  # metal2
trim.add(gdstk.FlexPath([(-3,-9),(-3,-10)], 0.23, ends="flush", simple_path=True, layer=36, datatype=0))  # metal2
trim.add(gdstk.FlexPath([(-5,-9),(-5,-10)], 0.23, ends="flush", simple_path=True, layer=36, datatype=0))  # metal2
trim.add(gdstk.FlexPath([(-7,-9),(-7,-10)], 0.23, ends="flush", simple_path=True, layer=36, datatype=0))  # metal2
trim.add(gdstk.FlexPath([(-9,-9),(-9,-10)], 0.23, ends="flush", simple_path=True, layer=36, datatype=0))  # metal2
trim.add(gdstk.FlexPath([(-11,-9),(-11,-10)], 0.23, ends="flush", simple_path=True, layer=36, datatype=0))  # metal2
trim.add(gdstk.FlexPath([(-13,-9),(-13,-10)], 0.23, ends="flush", simple_path=True, layer=36, datatype=0))  # metal2
trim.add(gdstk.FlexPath([(-15,-9),(-15,-10)], 0.23, ends="flush", simple_path=True, layer=36, datatype=0))  # metal2
trim.add(gdstk.FlexPath([(-17,-9),(-17,-10)], 0.3, ends="flush", simple_path=True, layer=36, datatype=0))  # metal2
trim.add(gdstk.FlexPath([(-15,-8),(-15,-9)], 0.3, ends="flush", simple_path=True, layer=36, datatype=0))  # metal2
trim.add(gdstk.FlexPath([(-11,-8),(-11,-9)], 0.3, ends="flush", simple_path=True, layer=36, datatype=0))  # metal2
trim.add(gdstk.FlexPath([(-7,-8),(-7,-9)], 0.3, ends="flush", simple_path=True, layer=36, datatype=0))  # metal2
trim.add(gdstk.FlexPath([(-3,-8),(-3,-9)], 0.3, ends="flush", simple_path=True, layer=36, datatype=0))  # metal2
trim.add(gdstk.FlexPath([(3,-8),(3,-9)], 0.3, ends="flush", simple_path=True, layer=36, datatype=0))  # metal2
trim.add(gdstk.FlexPath([(7,-8),(7,-9)], 0.3, ends="flush", simple_path=True, layer=36, datatype=0))  # metal2
trim.add(gdstk.FlexPath([(11,-8),(11,-9)], 0.3, ends="flush", simple_path=True, layer=36, datatype=0))  # metal2
trim.add(gdstk.FlexPath([(15,-8),(15,-9)], 0.3, ends="flush", simple_path=True, layer=36, datatype=0))  # metal2
trim.add(gdstk.FlexPath([(-13,-7),(-13,-9)], 0.3, ends="flush", simple_path=True, layer=36, datatype=0))  # metal2
trim.add(gdstk.FlexPath([(9,-6),(9,-9)], 0.3, ends="flush", simple_path=True, layer=36, datatype=0))  # metal2
trim.add(gdstk.FlexPath([(-5,-7),(-5,-9)], 0.3, ends="flush", simple_path=True, layer=36, datatype=0))  # metal2
trim.add(gdstk.FlexPath([(13,-7),(13,-9)], 0.3, ends="flush", simple_path=True, layer=36, datatype=0))  # metal2
trim.add(gdstk.FlexPath([(-9,-6),(-9,-9)], 0.3, ends="flush", simple_path=True, layer=36, datatype=0))  # metal2
trim.add(gdstk.FlexPath([(5,-7),(5,-9)], 0.3, ends="flush", simple_path=True, layer=36, datatype=0))  # metal2
trim.add(gdstk.FlexPath([(-1,-5),(-1,-9)], 0.3, ends="flush", simple_path=True, layer=36, datatype=0))  # metal2
trim.add(gdstk.FlexPath([(1,-5),(1,-9)], 0.3, ends="flush", simple_path=True, layer=36, datatype=0))  # metal2
trim.add(gdstk.FlexPath([(-18,-20),(18,-20)], 0.23, ends="flush", simple_path=True, layer=36, datatype=0))  # metal2
trim.add(gdstk.Reference(trim_switch, (0,0)))
trim.add(gdstk.Reference(trim_carray, (-17,-15.166)))

lib.write_gds('trim.gds')
